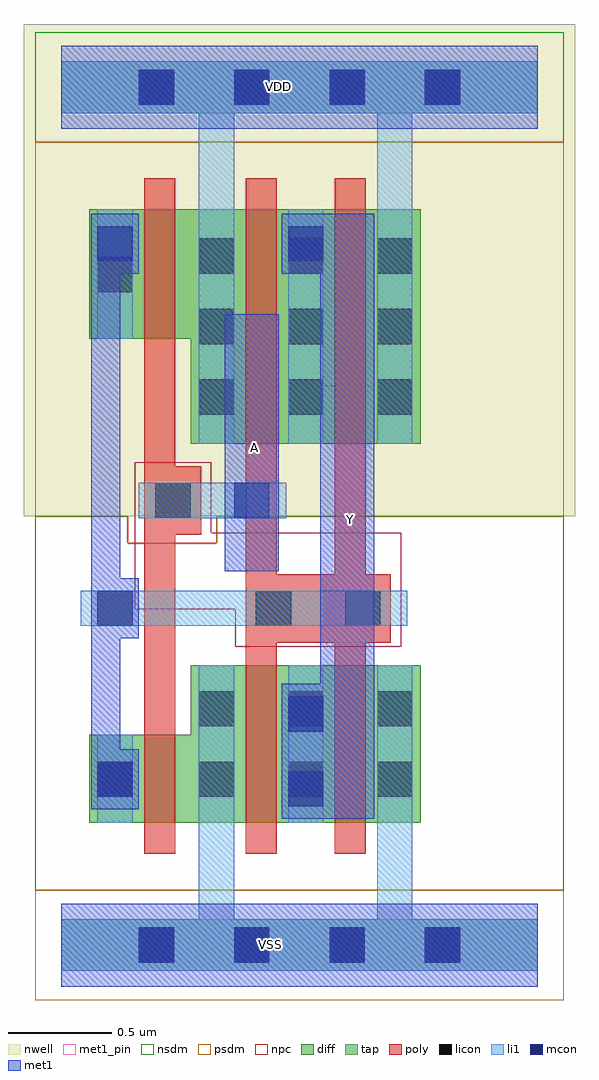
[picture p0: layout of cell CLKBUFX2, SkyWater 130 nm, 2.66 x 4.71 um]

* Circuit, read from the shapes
.subckt CLKBUFX2 A VDD VSS Y
XM1 VSS A n1 VSS sky130_fd_pr__nfet_01v8 w=0.425 l=0.15
XM2 Y n1 VSS VSS sky130_fd_pr__nfet_01v8 w=0.76 l=0.15 m=2
XM3 VDD A n1 VDD sky130_fd_pr__pfet_01v8 w=0.625 l=0.15
XM4 Y n1 VDD VDD sky130_fd_pr__pfet_01v8 w=1.13 l=0.15 m=2
.ends

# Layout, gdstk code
from math import pi, radians
import gdstk
lib = gdstk.Library(unit=1e-6, precision=1e-09)
def R(c, l, rs):  # rectangles x0, y0, x1, y1
    for r in rs: c.add(gdstk.rectangle(r[:2], r[2:], *l))
def A(c, l, x, y, w, h, nx, ny, dx, dy):  # array of equal rectangles
    R(c, l, [(x+i*dx, y+j*dy, x+i*dx+w, y+j*dy+h) for i in range(nx) for j in range(ny)])
def P(c, l, *ps):  # polygons
    for p in ps: c.add(gdstk.Polygon(p, *l))
nwell = (64, 20)
diff = (65, 20)
tap = (65, 44)
poly = (66, 20)
licon = (66, 44)
li1 = (67, 20)
mcon = (67, 44)
met1_pin = (68, 16)
met1 = (68, 20)
nsdm = (93, 44)
psdm = (94, 20)
npc = (95, 20)

nfet_01v8_cdns_716492285 = lib.new_cell('nfet_01v8_CDNS_71649228522207')
R(nfet_01v8_cdns_716492285, diff, [(-0.265,0,0,0.76), (0,0,0.15,0.76), (0.15,0,0.43,0.76), (0.43,0,0.58,0.76), (0.58,0,0.845,0.76)])
R(nfet_01v8_cdns_716492285, poly, [(0,-0.15,0.15,-0.095), (0.43,-0.15,0.58,-0.095), (0,-0.095,0.15,0), (0.43,-0.095,0.58,0), (0,0,0.15,0.76), (0.43,0,0.58,0.76), (0,0.76,0.15,0.855), (0.43,0.76,0.58,0.855), (0,0.855,0.15,0.91), (0.43,0.855,0.58,0.91)])
A(nfet_01v8_cdns_716492285, licon, -0.225, 0.125, 0.17, 0.17, 3, 2, 0.43, 0.34)
A(nfet_01v8_cdns_716492285, li1, -0.225, 0, 0.17, 0.76, 3, 1, 0.43, 0)
R(nfet_01v8_cdns_716492285, nsdm, [(-0.405,-0.13,0.985,0.89)])

pfet_01v8_cdns_716492285 = lib.new_cell('pfet_01v8_CDNS_7164922852223')
R(pfet_01v8_cdns_716492285, nwell, [(-0.445,-0.18,1.025,1.31)])
R(pfet_01v8_cdns_716492285, diff, [(-0.265,0,0,1.13), (0,0,0.15,1.13), (0.15,0,0.43,1.13), (0.43,0,0.58,1.13), (0.58,0,0.845,1.13)])
R(pfet_01v8_cdns_716492285, poly, [(0,-0.15,0.15,-0.095), (0.43,-0.15,0.58,-0.095), (0,-0.095,0.15,0), (0.43,-0.095,0.58,0), (0,0,0.15,1.13), (0.43,0,0.58,1.13), (0,1.13,0.15,1.225), (0.43,1.13,0.58,1.225), (0,1.225,0.15,1.28), (0.43,1.225,0.58,1.28)])
A(pfet_01v8_cdns_716492285, licon, -0.225, 0.14, 0.17, 0.17, 3, 3, 0.43, 0.34)
A(pfet_01v8_cdns_716492285, li1, -0.225, 0, 0.17, 1.13, 3, 1, 0.43, 0)
R(pfet_01v8_cdns_716492285, psdm, [(-0.405,-0.13,0.985,1.26)])

c_pfet_01v8_cdns_716492285 = lib.new_cell('pfet_01v8_CDNS_7164922852262')
R(c_pfet_01v8_cdns_716492285, nwell, [(-0.255,-0.18,0.595,0.805)])
R(c_pfet_01v8_cdns_716492285, diff, [(-0.075,0,0,0.625), (0,0,0.15,0.625), (0.15,0,0.415,0.625)])
R(c_pfet_01v8_cdns_716492285, poly, [(0,-0.15,0.15,-0.095), (0,-0.095,0.15,0), (0,0,0.15,0.625), (0,0.625,0.15,0.72), (0,0.72,0.15,0.775)])
R(c_pfet_01v8_cdns_716492285, licon, [(0.205,0.225,0.375,0.395)])
R(c_pfet_01v8_cdns_716492285, li1, [(0.205,0,0.375,0.625)])
R(c_pfet_01v8_cdns_716492285, psdm, [(0.045,-0.13,0.555,0.755)])

c_nfet_01v8_cdns_716492285 = lib.new_cell('nfet_01v8_CDNS_71649228522208')
R(c_nfet_01v8_cdns_716492285, diff, [(-0.265,0,0,0.425), (0,0,0.15,0.425), (0.15,0,0.225,0.425)])
R(c_nfet_01v8_cdns_716492285, poly, [(0,-0.15,0.15,-0.095), (0,-0.095,0.15,0), (0,0,0.15,0.425), (0,0.425,0.15,0.52), (0,0.52,0.15,0.575)])
R(c_nfet_01v8_cdns_716492285, licon, [(-0.225,0.125,-0.055,0.295)])
R(c_nfet_01v8_cdns_716492285, li1, [(-0.225,0,-0.055,0.425)])
R(c_nfet_01v8_cdns_716492285, nsdm, [(-0.405,-0.13,0.105,0.555)])

pyl1con_c_cdns_716492285 = lib.new_cell('PYL1CON_C_CDNS_716492285220')
R(pyl1con_c_cdns_716492285, poly, [(-0.135,-0.165,0.135,0.165)])
R(pyl1con_c_cdns_716492285, licon, [(-0.085,-0.085,0.085,0.085)])
R(pyl1con_c_cdns_716492285, npc, [(-0.185,-0.185,0.185,0.185)])

l1m1_c_cdns_716492285225 = lib.new_cell('L1M1_C_CDNS_716492285225')
R(l1m1_c_cdns_716492285225, li1, [(-0.085,-0.345,0.085,0.345)])
R(l1m1_c_cdns_716492285225, mcon, [(-0.085,-0.265,0.085,-0.095), (-0.085,0.095,0.085,0.265)])
R(l1m1_c_cdns_716492285225, met1, [(-0.115,-0.325,0.115,0.325)])

l1m1_c_cdns_716492285222 = lib.new_cell('L1M1_C_CDNS_716492285222')
R(l1m1_c_cdns_716492285222, li1, [(-0.085,-0.165,0.085,0.165)])
R(l1m1_c_cdns_716492285222, mcon, [(-0.085,-0.085,0.085,0.085)])
R(l1m1_c_cdns_716492285222, met1, [(-0.115,-0.145,0.115,0.145)])

l1m1_c_cdns_716492285223 = lib.new_cell('L1M1_C_CDNS_716492285223')
R(l1m1_c_cdns_716492285223, li1, [(-0.165,-0.085,0.165,0.085)])
R(l1m1_c_cdns_716492285223, mcon, [(-0.085,-0.085,0.085,0.085)])
R(l1m1_c_cdns_716492285223, met1, [(-0.115,-0.145,0.115,0.145)])

c_l1m1_c_cdns_716492285223 = lib.new_cell('L1M1_C_CDNS_7164922852237')
R(c_l1m1_c_cdns_716492285223, li1, [(-0.115,-0.165,0.055,0.165)])
R(c_l1m1_c_cdns_716492285223, mcon, [(-0.115,-0.085,0.055,0.085)])
R(c_l1m1_c_cdns_716492285223, met1, [(-0.145,-0.145,0.085,0.145)])

clkbufx2 = lib.new_cell('CLKBUFX2')
R(clkbufx2, nwell, [(-0.18,2.07,2.48,4.305), (-0.18,3.875,2.48,4.445)])
R(clkbufx2, poly, [(0.89,1.46,1.59,1.79)])
R(clkbufx2, licon, [(0.375,-0.085,0.545,0.085), (0.375,-0.085,0.545,0.085), (0.835,-0.085,1.005,0.085), (0.835,-0.085,1.005,0.085), (1.295,-0.085,1.465,0.085), (1.295,-0.085,1.465,0.085), (1.755,-0.085,1.925,0.085), (1.755,-0.085,1.925,0.085), (0.375,4.055,0.545,4.225), (0.375,4.055,0.545,4.225), (0.835,4.055,1.005,4.225), (0.835,4.055,1.005,4.225), (1.295,4.055,1.465,4.225), (1.295,4.055,1.465,4.225), (1.755,4.055,1.925,4.225), (1.755,4.055,1.925,4.225)])
R(clkbufx2, mcon, [(0.375,-0.085,0.545,0.085), (0.375,-0.085,0.545,0.085), (0.835,-0.085,1.005,0.085), (0.835,-0.085,1.005,0.085), (1.295,-0.085,1.465,0.085), (1.295,-0.085,1.465,0.085), (1.755,-0.085,1.925,0.085), (1.755,-0.085,1.925,0.085), (0.375,4.055,0.545,4.225), (0.375,4.055,0.545,4.225), (0.835,4.055,1.005,4.225), (0.835,4.055,1.005,4.225), (1.295,4.055,1.465,4.225), (1.295,4.055,1.465,4.225), (1.755,4.055,1.925,4.225), (1.755,4.055,1.925,4.225)])
R(clkbufx2, met1_pin, [(1.25,1.46,1.51,2.7), (0.79,1.805,1.05,3.045)])
R(clkbufx2, nsdm, [(-0.125,3.875,2.425,4.405), (-0.125,3.875,2.425,4.405), (-0.125,3.93,2.425,4.35), (-0.125,3.93,2.425,4.35)])
P(clkbufx2, nsdm, [(2.425,2.07),(0.75,2.07),(0.75,1.94),(0.32,1.94),(0.32,2.07),(-0.125,2.07),(-0.125,0.265),(2.425,0.265)])
R(clkbufx2, psdm, [(-0.125,-0.265,2.425,0.265), (-0.125,-0.21,2.425,0.21)])
P(clkbufx2, psdm, [(2.425,3.875),(-0.125,3.875),(-0.125,2.07),(0.32,2.07),(0.32,1.94),(0.75,1.94),(0.75,2.07),(2.425,2.07)])
R(clkbufx2, npc, [(0.84,1.44,1.64,1.99), (0.355,1.62,1.64,1.99)])
clkbufx2.add(gdstk.FlexPath([(0.475,2.775),(0.475,1.165)], 0.15, ends="flush", simple_path=True, layer=66, datatype=20))  # poly
clkbufx2.add(gdstk.FlexPath([(1.395,2.27),(1.395,1.5)], 0.15, ends="flush", simple_path=True, layer=66, datatype=20))  # poly
clkbufx2.add(gdstk.FlexPath([(0.965,2.27),(0.965,1.5)], 0.15, ends="flush", simple_path=True, layer=66, datatype=20))  # poly
clkbufx2.add(gdstk.FlexPath([(0.92,2.145),(0.375,2.145)], 0.17, ends="flush", simple_path=True, layer=67, datatype=20))  # li1
clkbufx2.add(gdstk.FlexPath([(0.305,1.625),(1.67,1.625)], 0.17, ends="flush", simple_path=True, layer=67, datatype=20))  # li1
clkbufx2.add(gdstk.FlexPath([(2.215,0),(0,0)], 0.25, ends=(0.085, 0), simple_path=True, layer=67, datatype=20))  # li1
clkbufx2.add(gdstk.FlexPath([(2.215,0),(0,0)], 0.25, ends=(0.085, 0), simple_path=True, layer=67, datatype=20))  # li1
clkbufx2.add(gdstk.FlexPath([(2.215,4.14),(0,4.14)], 0.25, ends=(0.085, 0), simple_path=True, layer=67, datatype=20))  # li1
clkbufx2.add(gdstk.FlexPath([(0.75,0.59),(0.75,0)], 0.17, ends="flush", simple_path=True, layer=67, datatype=20))  # li1
clkbufx2.add(gdstk.FlexPath([(1.61,3.55),(1.61,4.14)], 0.17, ends=(0, 0.085), simple_path=True, layer=67, datatype=20))  # li1
clkbufx2.add(gdstk.FlexPath([(1.61,0.59),(1.61,0)], 0.17, ends=(0, 0.085), simple_path=True, layer=67, datatype=20))  # li1
clkbufx2.add(gdstk.FlexPath([(2.215,4.14),(0,4.14)], 0.25, ends=(0.085, 0), simple_path=True, layer=67, datatype=20))  # li1
clkbufx2.add(gdstk.FlexPath([(0.75,3.55),(0.75,4.14)], 0.17, ends="flush", simple_path=True, layer=67, datatype=20))  # li1
clkbufx2.add(gdstk.FlexPath([(0.92,1.805),(0.92,3.045)], 0.26, ends="flush", simple_path=True, layer=68, datatype=20))  # met1
clkbufx2.add(gdstk.FlexPath([(1.38,0.61),(1.38,3.53)], 0.26, ends="flush", simple_path=True, layer=68, datatype=20))  # met1
clkbufx2.add(gdstk.FlexPath([(0.215,0.8),(0.23,0.8)], 0.14, ends=(0.07, 0), simple_path=True, layer=68, datatype=20))  # met1
clkbufx2.add(gdstk.FlexPath([(0.215,3.46),(0.215,0.8)], 0.14, ends="extended", simple_path=True, layer=68, datatype=20))  # met1
clkbufx2.add(gdstk.FlexPath([(0,0),(2.3,0)], 0.4, ends="flush", simple_path=True, layer=68, datatype=20))  # met1
clkbufx2.add(gdstk.FlexPath([(0,4.14),(2.3,4.14)], 0.4, ends="flush", simple_path=True, layer=68, datatype=20))  # met1
clkbufx2.add(gdstk.FlexPath([(0,4.14),(2.3,4.14)], 0.25, ends="flush", simple_path=True, layer=65, datatype=44))  # tap
clkbufx2.add(gdstk.FlexPath([(0,4.14),(2.3,4.14)], 0.25, ends="flush", simple_path=True, layer=65, datatype=44))  # tap
clkbufx2.add(gdstk.FlexPath([(0,0),(2.3,0)], 0.25, ends="flush", simple_path=True, layer=65, datatype=44))  # tap
clkbufx2.add(gdstk.FlexPath([(0,0),(2.3,0)], 0.25, ends="flush", simple_path=True, layer=65, datatype=44))  # tap
clkbufx2.add(gdstk.FlexPath([(0,0),(2.3,0)], 0.4, ends="flush", simple_path=True, layer=68, datatype=16))  # met1_pin
clkbufx2.add(gdstk.FlexPath([(0,4.14),(2.3,4.14)], 0.4, ends="flush", simple_path=True, layer=68, datatype=16))  # met1_pin
clkbufx2.add(gdstk.FlexPath([(0,0),(2.3,0)], 0.4, ends="flush", simple_path=True, layer=68, datatype=16))  # met1_pin
clkbufx2.add(gdstk.FlexPath([(0,4.14),(2.3,4.14)], 0.4, ends="flush", simple_path=True, layer=68, datatype=16))  # met1_pin
clkbufx2.add(gdstk.Reference(nfet_01v8_cdns_716492285, (0.89,0.59)))
clkbufx2.add(gdstk.Reference(pfet_01v8_cdns_716492285, (0.89,2.42)))
clkbufx2.add(gdstk.Reference(c_pfet_01v8_cdns_716492285, (0.55,2.925), rotation=pi, x_reflection=True))
clkbufx2.add(gdstk.Reference(c_nfet_01v8_cdns_716492285, (0.4,0.59)))
clkbufx2.add(gdstk.Reference(pyl1con_c_cdns_716492285, (1.025,1.625), rotation=pi))
clkbufx2.add(gdstk.Reference(pyl1con_c_cdns_716492285, (0.54,2.145), x_reflection=True))
clkbufx2.add(gdstk.Reference(pyl1con_c_cdns_716492285, (1.455,1.625), rotation=pi))
clkbufx2.add(gdstk.Reference(l1m1_c_cdns_716492285225, (1.18,0.935)))
clkbufx2.add(gdstk.Reference(l1m1_c_cdns_716492285222, (0.26,3.385), rotation=pi, x_reflection=True))
clkbufx2.add(gdstk.Reference(l1m1_c_cdns_716492285222, (1.18,3.385)))
clkbufx2.add(gdstk.Reference(l1m1_c_cdns_716492285223, (0.26,1.625)))
clkbufx2.add(gdstk.Reference(l1m1_c_cdns_716492285223, (0.92,2.145), x_reflection=True))
clkbufx2.add(gdstk.Reference(c_l1m1_c_cdns_716492285223, (0.23,0.8), rotation=pi, x_reflection=True))
clkbufx2.add(gdstk.Label('Y', (1.395,2.055), layer=68, texttype=5))
clkbufx2.add(gdstk.Label('A', (0.935,2.4), layer=68, texttype=5))
clkbufx2.add(gdstk.Label('VDD', (1.05,4.145), layer=68, texttype=5))
clkbufx2.add(gdstk.Label('VSS', (1.01,0.005), layer=68, texttype=5))

lib.write_gds('CLKBUFX2.gds')
